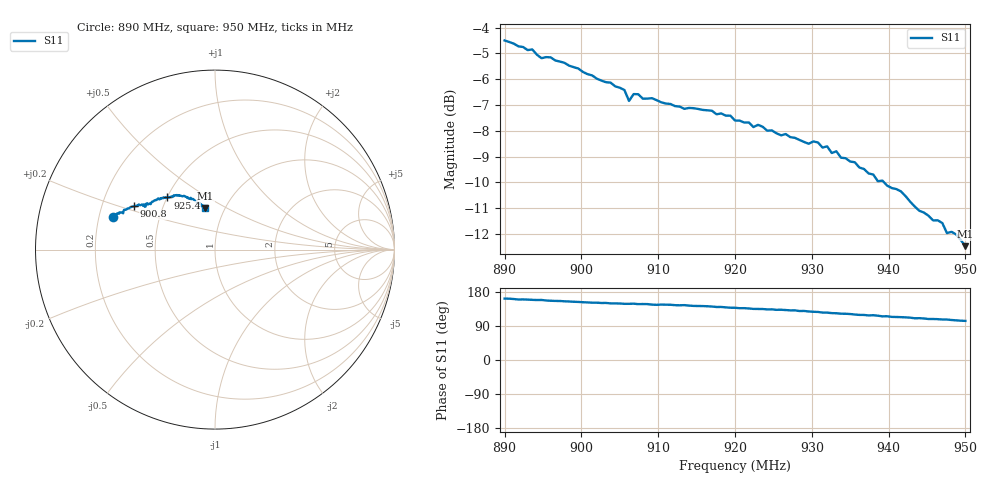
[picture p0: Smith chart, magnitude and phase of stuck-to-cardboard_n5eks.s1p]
# HZ S RI R 50
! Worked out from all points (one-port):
!   101 points, 890 MHz to 950 MHz, reference 50 ohm
!   lowest |S11| = -12.5 dB at 950 MHz (marker M1), VSWR 1.62, Z = 40.5 + j19.9 ohm
!   |S11| at or under -10 dB: 939.4 MHz to end of sweep
!   S11 on the Smith chart (normalised r, x): 890 MHz: 0.26, +0.15; 900.8 MHz: 0.34, +0.22; 925.4 MHz: 0.50, +0.34; 950 MHz: 0.81, +0.40
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8.9e8  -0.5666 0.1834
8.918e8  -0.5439 0.2021
8.936e8  -0.5332 0.2075
8.948e8  -0.5119 0.2022
8.96e8  -0.5059 0.2217
8.978e8  -0.4879 0.229
9.008e8  -0.4521 0.2414
9.05e8  -0.4139 0.2477
9.056e8  -0.406 0.2515
9.062e8  -0.3867 0.2395
9.068e8  -0.4003 0.2443
9.128e8  -0.3605 0.2583
9.134e8  -0.3587 0.2531
9.17e8  -0.3388 0.2734
9.194e8  -0.3162 0.2853
9.2e8  -0.309 0.2796
9.254e8  -0.2655 0.2908
9.278e8  -0.2534 0.291
9.32e8  -0.2131 0.3042
9.326e8  -0.2003 0.2999
9.332e8  -0.1999 0.3034
9.35e8  -0.1805 0.2966
9.416e8  -0.1192 0.2796
9.428e8  -0.1075 0.2697
9.47e8  -0.0767 0.2524
9.476e8  -0.0728 0.2416
9.488e8  -0.0635 0.2426
9.5e8  -0.0545 0.2317
